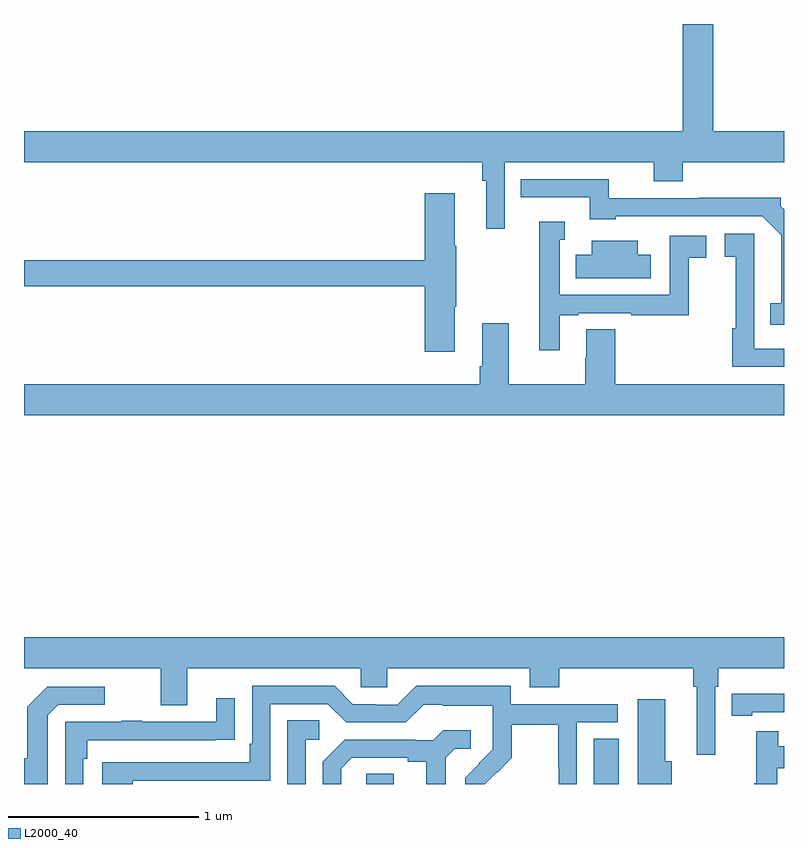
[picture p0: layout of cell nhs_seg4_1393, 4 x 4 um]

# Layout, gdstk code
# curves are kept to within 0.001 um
import gdstk
lib = gdstk.Library(unit=1e-6, precision=1e-09)
def R(c, l, rs):  # rectangles x0, y0, x1, y1
    for r in rs: c.add(gdstk.rectangle(r[:2], r[2:], *l))
def P(c, l, *ps):  # polygons
    for p in ps: c.add(gdstk.Polygon(p, *l))
L2000_40 = (2000, 40)

nhs_seg4_1393 = lib.new_cell('nhs_seg4_1393')
R(nhs_seg4_1393, L2000_40, [(184.8,774.9,184.945,774.953), (185.999,774.9,186.13,775.139)])
P(nhs_seg4_1393, L2000_40, [(185.529,778.172),(186.314,778.172),(186.314,778.073),(186.467,778.073),(186.467,778.172),(187,778.172),(187,778.336),(186.627,778.336),(186.627,778.9),(186.467,778.9),(186.467,778.336),(183,778.336),(183,778.172),(185.413,778.172),(185.413,778.076),(185.432,778.076),(185.432,777.822),(185.529,777.822)],
  [(187,777.925),(186.984,777.941),(186.984,777.986),(186.55,777.986),(186.55,777.984),(186.078,777.984),(186.078,778.083),(185.614,778.083),(185.614,777.987),(185.978,777.987),(185.978,777.872),(186.114,777.872),(186.114,777.888),(186.885,777.888),(186.986,777.787),(186.986,777.431),(186.928,777.431),(186.928,777.318),(187,777.318)],
  [(185.266,777.412),(185.274,777.412),(185.274,777.733),(185.266,777.733),(185.266,778.009),(185.108,778.009),(185.108,777.656),(183,777.656),(183,777.52),(185.108,777.52),(185.108,777.174),(185.266,777.174)],
  [(185.821,777.366),(185.917,777.366),(185.917,777.378),(186.196,777.378),(186.196,777.366),(186.498,777.366),(186.498,777.67),(186.592,777.67),(186.592,777.786),(186.399,777.786),(186.399,777.474),(185.82,777.474),(185.82,777.765),(185.845,777.765),(185.845,777.859),(185.712,777.859),(185.712,777.427),(185.711,777.427),(185.711,777.183),(185.821,777.183)],
  [(187,777.192),(186.843,777.192),(186.843,777.52),(186.844,777.52),(186.844,777.796),(186.687,777.796),(186.687,777.675),(186.745,777.675),(186.745,777.299),(186.727,777.299),(186.727,777.096),(187,777.096)],
  [(186.298,777.685),(186.229,777.685),(186.229,777.76),(185.987,777.76),(185.987,777.685),(185.905,777.685),(185.905,777.563),(186.298,777.563)],
  [(187,777.004),(186.113,777.004),(186.113,777.293),(185.96,777.293),(185.96,777.143),(185.953,777.143),(185.953,777.004),(185.551,777.004),(185.551,777.325),(185.411,777.325),(185.411,777.1),(185.399,777.1),(185.399,777.004),(183,777.004),(183,776.84),(187,776.84)],
  [(186.639,775.412),(186.653,775.412),(186.653,775.508),(187,775.508),(187,775.672),(183,775.672),(183,775.508),(183.719,775.508),(183.719,775.314),(183.859,775.314),(183.859,775.508),(184.773,775.508),(184.773,775.41),(184.911,775.41),(184.911,775.508),(185.663,775.508),(185.663,775.409),(185.816,775.409),(185.816,775.508),(186.523,775.508),(186.523,775.412),(186.542,775.412),(186.542,775.053),(186.639,775.053)],
  [(183.572,774.918),(184.296,774.918),(184.296,775.32),(184.599,775.32),(184.695,775.224),(185.01,775.224),(185.103,775.317),(185.203,775.317),(185.203,775.313),(185.466,775.313),(185.466,775.179),(185.468,775.179),(185.468,775.082),(185.322,774.934),(185.322,774.9),(185.424,774.9),(185.487,774.963),(185.49,774.96),(185.567,775.037),(185.567,775.212),(185.812,775.212),(185.812,774.988),(185.814,774.988),(185.814,774.9),(185.91,774.9),(185.91,775.224),(186.124,775.224),(186.124,775.32),(185.562,775.32),(185.562,775.417),(185.065,775.417),(184.965,775.317),(184.85,775.317),(184.85,775.32),(184.731,775.32),(184.635,775.416),(184.2,775.416),(184.2,775.111),(184.187,775.111),(184.187,775.014),(183.411,775.014),(183.411,774.9),(183.572,774.9)],
  [(183.126,775.263),(183.18,775.317),(183.424,775.317),(183.424,775.413),(183.123,775.413),(183.018,775.307),(183.018,775.035),(183,775.035),(183,774.9),(183.126,774.9)],
  [(186.832,775.278),(187,775.278),(187,775.375),(186.832,775.375),(186.832,775.374),(186.724,775.374),(186.724,775.258),(186.832,775.258)],
  [(183.312,775.034),(183.332,775.034),(183.332,775.131),(184.007,775.131),(184.007,775.132),(184.109,775.132),(184.109,775.351),(184.013,775.351),(184.013,775.227),(183.623,775.227),(183.623,775.232),(183.511,775.232),(183.511,775.227),(183.216,775.227),(183.216,774.9),(183.312,774.9)],
  [(186.409,775.021),(186.376,775.021),(186.376,775.345),(186.23,775.345),(186.23,774.9),(186.409,774.9)],
  [(184.482,775.134),(184.555,775.134),(184.555,775.235),(184.386,775.235),(184.386,774.9),(184.482,774.9)],
  [(184.669,774.981),(184.726,775.038),(185.021,775.038),(185.021,775.016),(185.117,775.016),(185.117,774.9),(185.221,774.9),(185.221,775.039),(185.268,775.086),(185.35,775.086),(185.35,775.183),(185.206,775.183),(185.154,775.131),(185.06,775.131),(185.06,775.134),(184.688,775.134),(184.572,775.018),(184.572,774.9),(184.669,774.9)],
  [(186.964,774.982),(187,774.982),(187,775.098),(186.971,775.098),(186.971,775.177),(186.854,775.177),(186.854,774.905),(186.843,774.905),(186.843,774.9),(186.964,774.9)])

lib.write_gds('nhs_seg4_1393.gds')
